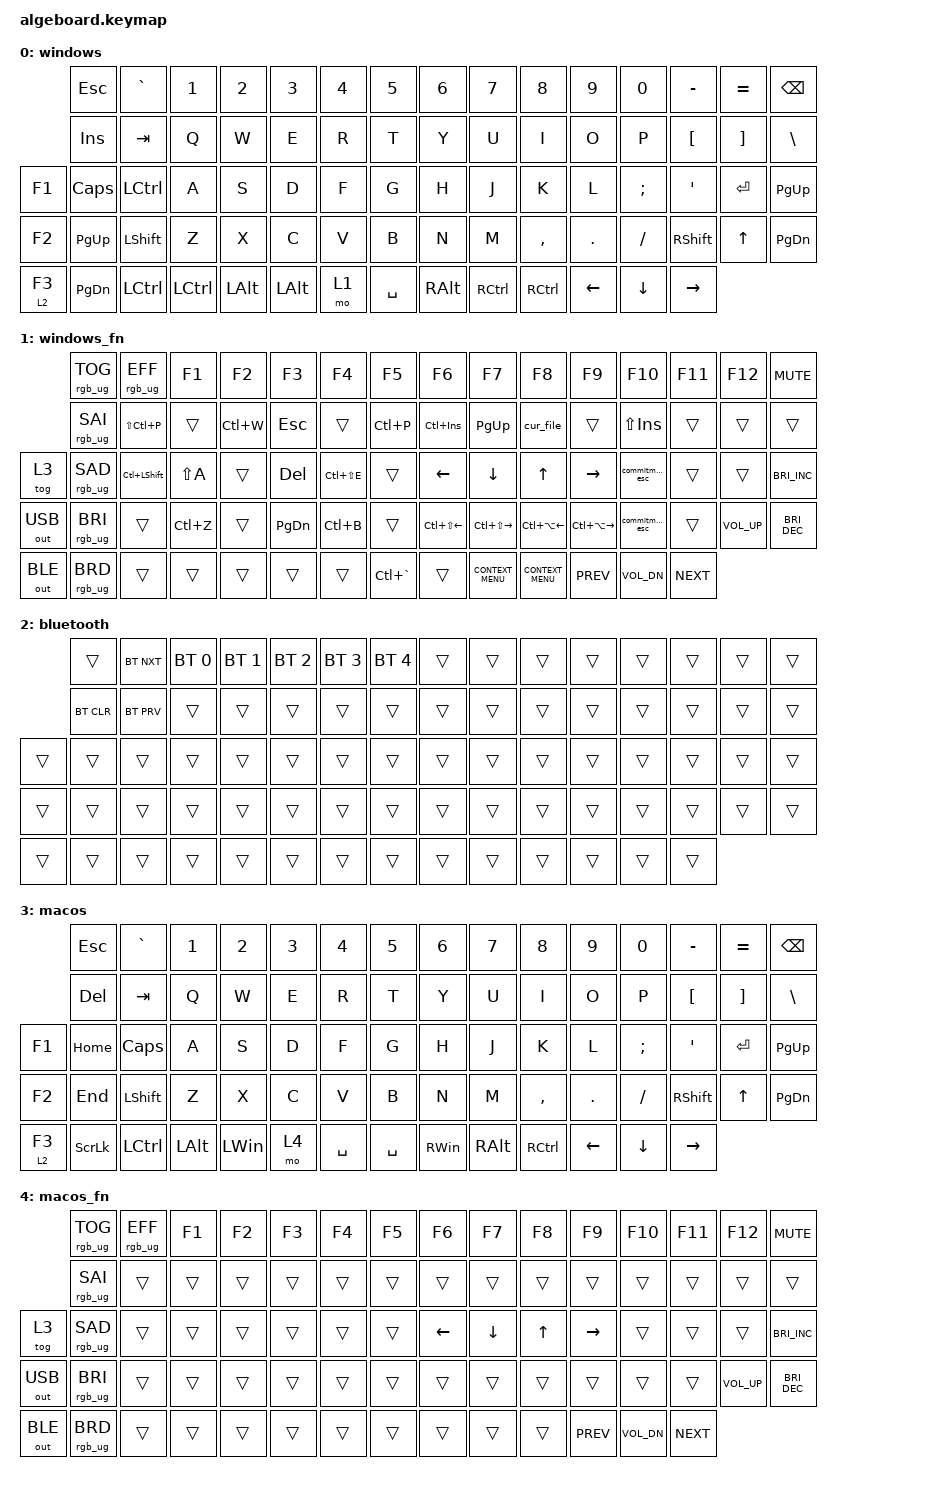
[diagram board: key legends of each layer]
/*
 * Copyright (c) 2020 The ZMK Contributors
 *
 * SPDX-License-Identifier: MIT
 */

#include <behaviors.dtsi>
#include <dt-bindings/zmk/bt.h>
#include <dt-bindings/zmk/keys.h>
#include <dt-bindings/zmk/outputs.h>
#include <dt-bindings/zmk/rgb.h>

/ {
    macros {
        cur_file: cur_file {
            compatible = "zmk,behavior-macro";
            label = "file";
            #binding-cells = <0>;
            bindings = <&kp LC(P) &kp ENTER>;
        };
        commitment_esc: commitment_esc {
            compatible = "zmk,behavior-macro";
            label = "commit";
            #binding-cells = <0>;
            bindings = <&kp LC(SLASH) &kp ESC>;
        };
    };

    combos {
        compatible = "zmk,combos";

        new_combo {
            bindings = <&kp LC(SLASH)>;
            key-positions = <32 42>;
        };
    };

    keymap {
        compatible = "zmk,keymap";

        windows {
            bindings = <
            &kp ESC   &kp GRAVE     &kp N1    &kp N2    &kp N3  &kp N4     &kp N5    &kp N6     &kp N7             &kp N8    &kp N9     &kp N0   &kp MINUS  &kp EQUAL  &kp BACKSPACE
            &kp INS     &kp TAB      &kp Q     &kp W     &kp E   &kp R      &kp T     &kp Y      &kp U              &kp I     &kp O      &kp P    &kp LBKT   &kp RBKT  &kp BACKSLASH
  &kp F1   &kp CAPS   &kp LCTRL      &kp A     &kp S     &kp D   &kp F      &kp G     &kp H      &kp J              &kp K     &kp L   &kp SEMI     &kp SQT  &kp ENTER      &kp PG_UP
  &kp F2  &kp PG_UP  &kp LSHIFT      &kp Z     &kp X     &kp C   &kp V      &kp B     &kp N      &kp M          &kp COMMA   &kp DOT  &kp SLASH  &kp RSHIFT     &kp UP      &kp PG_DN
&lt 2 F3  &kp PG_DN   &kp LCTRL  &kp LCTRL  &kp LALT  &kp LALT   &mo 1  &kp SPACE  &kp RALT  &kp RCTRL  &kp RIGHT_CONTROL  &kp LEFT   &kp DOWN   &kp RIGHT
            >;
        };

        windows_fn {
            bindings = <
              &rgb_ug RGB_TOG     &rgb_ug RGB_EFF     &kp F1     &kp F2      &kp F3         &kp F4         &kp F5            &kp F6                   &kp F7              &kp F8             &kp F9          &kp F10     &kp F11       &kp F12     &kp C_MUTE
              &rgb_ug RGB_SAI       &kp LS(LC(P))     &trans  &kp LC(W)     &kp ESC         &trans      &kp LC(P)    &kp LC(INSERT)                &kp PG_UP           &cur_file             &trans   &kp LS(INSERT)      &trans        &trans         &trans
      &tog 3  &rgb_ug RGB_SAD  &kp LC(LEFT_SHIFT)  &kp LS(A)     &trans  &kp DELETE  &kp LC(LS(E))         &trans          &kp LEFT                 &kp DOWN              &kp UP          &kp RIGHT  &commitment_esc      &trans        &trans  &kp C_BRI_INC
&out OUT_USB  &rgb_ug RGB_BRI              &trans  &kp LC(Z)     &trans   &kp PG_DN      &kp LC(B)         &trans  &kp LC(LS(LEFT))  &kp LC(LS(RIGHT_ARROW))    &kp LC(LA(LEFT))  &kp LC(LA(RIGHT))  &commitment_esc      &trans  &kp C_VOL_UP  &kp C_BRI_DEC
&out OUT_BLE  &rgb_ug RGB_BRD              &trans     &trans     &trans      &trans         &trans  &kp LC(GRAVE)            &trans       &kp K_CONTEXT_MENU  &kp K_CONTEXT_MENU         &kp C_PREV     &kp C_VOL_DN  &kp C_NEXT
            >;
        };

        bluetooth {
            bindings = <
            &trans  &bt BT_NXT  &bt BT_SEL 0  &bt BT_SEL 1  &bt BT_SEL 2  &bt BT_SEL 3  &bt BT_SEL 4  &trans  &trans  &trans  &trans  &trans  &trans  &trans  &trans
        &bt BT_CLR  &bt BT_PRV        &trans        &trans        &trans        &trans        &trans  &trans  &trans  &trans  &trans  &trans  &trans  &trans  &trans
&trans      &trans      &trans        &trans        &trans        &trans        &trans        &trans  &trans  &trans  &trans  &trans  &trans  &trans  &trans  &trans
&trans      &trans      &trans        &trans        &trans        &trans        &trans        &trans  &trans  &trans  &trans  &trans  &trans  &trans  &trans  &trans
&trans      &trans      &trans        &trans        &trans        &trans        &trans        &trans  &trans  &trans  &trans  &trans  &trans  &trans
            >;
        };

        macos {
            bindings = <
                 &kp ESC     &kp GRAVE    &kp N1    &kp N2  &kp N3     &kp N4     &kp N5    &kp N6    &kp N7     &kp N8    &kp N9     &kp N0   &kp MINUS  &kp EQUAL  &kp BACKSPACE
                 &kp DEL       &kp TAB     &kp Q     &kp W   &kp E      &kp R      &kp T     &kp Y     &kp U      &kp I     &kp O      &kp P    &kp LBKT   &kp RBKT  &kp BACKSLASH
  &kp F1        &kp HOME  &kp CAPSLOCK     &kp A     &kp S   &kp D      &kp F      &kp G     &kp H     &kp J      &kp K     &kp L   &kp SEMI     &kp SQT  &kp ENTER      &kp PG_UP
  &kp F2         &kp END    &kp LSHIFT     &kp Z     &kp X   &kp C      &kp V      &kp B     &kp N     &kp M  &kp COMMA   &kp DOT  &kp SLASH  &kp RSHIFT     &kp UP      &kp PG_DN
&lt 2 F3  &kp SCROLLLOCK     &kp LCTRL  &kp LALT  &kp LWIN   &mo 4  &kp SPACE  &kp SPACE  &kp RWIN  &kp RALT  &kp RCTRL  &kp LEFT   &kp DOWN   &kp RIGHT
            >;
        };

        macos_fn {
            bindings = <
              &rgb_ug RGB_TOG  &rgb_ug RGB_EFF  &kp F1  &kp F2  &kp F3  &kp F4  &kp F5    &kp F6    &kp F7  &kp F8      &kp F9       &kp F10     &kp F11       &kp F12     &kp C_MUTE
              &rgb_ug RGB_SAI           &trans  &trans  &trans  &trans  &trans  &trans    &trans    &trans  &trans      &trans        &trans      &trans        &trans         &trans
      &tog 3  &rgb_ug RGB_SAD           &trans  &trans  &trans  &trans  &trans  &trans  &kp LEFT  &kp DOWN  &kp UP   &kp RIGHT        &trans      &trans        &trans  &kp C_BRI_INC
&out OUT_USB  &rgb_ug RGB_BRI           &trans  &trans  &trans  &trans  &trans  &trans    &trans    &trans  &trans      &trans        &trans      &trans  &kp C_VOL_UP  &kp C_BRI_DEC
&out OUT_BLE  &rgb_ug RGB_BRD           &trans  &trans  &trans  &trans  &trans  &trans    &trans    &trans  &trans  &kp C_PREV  &kp C_VOL_DN  &kp C_NEXT
            >;
        };
    };
};
